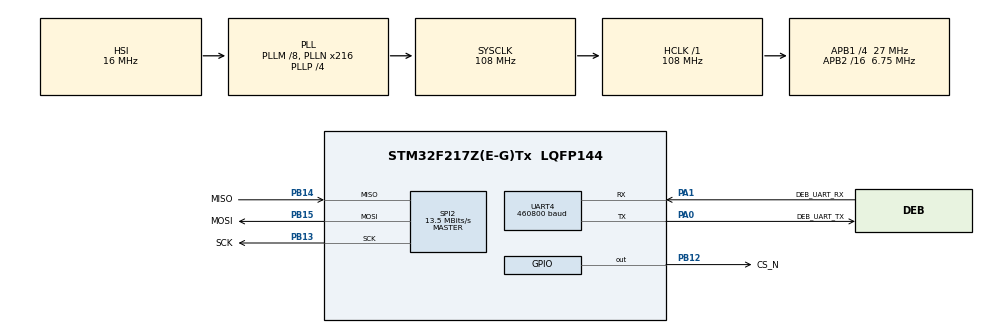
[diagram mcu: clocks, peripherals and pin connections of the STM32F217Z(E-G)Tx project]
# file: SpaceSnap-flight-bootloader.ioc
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IWDG.Prescaler=IWDG_PRESCALER_64
Mcu.Family=STM32F2
Mcu.Name=STM32F217Z(E-G)Tx
Mcu.Package=LQFP144
NVIC.PriorityGroup=NVIC_PRIORITYGROUP_4
PA0-WKUP.GPIO_Label=DEB_UART_TX
PA0-WKUP.Mode=Asynchronous
PA0-WKUP.Signal=UART4_TX
PA1.GPIO_Label=DEB_UART_RX
PA1.Mode=Asynchronous
PA1.Signal=UART4_RX
PA13.GPIO_Label=JTMS/SWDIO
PA13.Mode=Serial_Wire
PA13.Signal=SYS_JTMS-SWDIO
PA14.GPIO_Label=JTCK/SWCLK
PA14.Mode=Serial_Wire
PA14.Signal=SYS_JTCK-SWCLK
PB12.GPIO_Label=CS_N
PB12.PinState=GPIO_PIN_RESET
PB12.Signal=GPIO_Output
PB13.GPIO_Label=SCK
PB13.Mode=Full_Duplex_Master
PB13.Signal=SPI2_SCK
PB14.GPIO_Label=MISO
PB14.Mode=Full_Duplex_Master
PB14.Signal=SPI2_MISO
PB15.GPIO_Label=MOSI
PB15.Mode=Full_Duplex_Master
PB15.Signal=SPI2_MOSI
PC14-OSC32_IN.Mode=LSE-External-Oscillator
PC14-OSC32_IN.Signal=RCC_OSC32_IN
PC15-OSC32_OUT.Mode=LSE-External-Oscillator
PC15-OSC32_OUT.Signal=RCC_OSC32_OUT
PH0-OSC_IN.Mode=HSE-External-Oscillator
PH0-OSC_IN.Signal=RCC_OSC_IN
PH1-OSC_OUT.Mode=HSE-External-Oscillator
PH1-OSC_OUT.Signal=RCC_OSC_OUT
ProjectManager.HeapSize=0x200
ProjectManager.StackSize=0x400
ProjectManager.TargetToolchain=STM32CubeIDE
RCC.48MHZClocksFreq_Value=108000000
RCC.AHBFreq_Value=108000000
RCC.APB1CLKDivider=RCC_HCLK_DIV4
RCC.APB1Freq_Value=27000000
RCC.APB1TimFreq_Value=54000000
RCC.APB2CLKDivider=RCC_HCLK_DIV16
RCC.APB2Freq_Value=6750000
RCC.APB2TimFreq_Value=13500000
RCC.CortexFreq_Value=108000000
RCC.HCLKFreq_Value=108000000
RCC.HSE_VALUE=8000000
RCC.HSI_VALUE=16000000
RCC.PLLM=8
RCC.PLLN=216
RCC.PLLP=RCC_PLLP_DIV4
RCC.SYSCLKFreq_VALUE=108000000
RCC.SYSCLKSource=RCC_SYSCLKSOURCE_PLLCLK
RCC.VCOOutputFreq_Value=432000000
SPI2.BaudRatePrescaler=SPI_BAUDRATEPRESCALER_2
SPI2.CalculateBaudRate=13.5 MBits/s
SPI2.Direction=SPI_DIRECTION_2LINES
SPI2.Mode=SPI_MODE_MASTER
SPI2.VirtualType=VM_MASTER
UART4.BaudRate=460800
UART4.VirtualMode=Asynchronous
VP_IWDG_VS_IWDG.Mode=IWDG_Activate
board=custom

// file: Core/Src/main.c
/* USER CODE BEGIN Header */
/**
  ******************************************************************************
  * @file           : main.c
  * @brief          : Main program body
  * @author			: Lucas Finazzi <lfinazzi@unsam.edu.ar>
  ******************************************************************************
  * @attention
  *
  * Copyright (c) 2026 STMicroelectronics.
  * All rights reserved.
  *
  * This software is licensed under terms that can be found in the LICENSE file
  * in the root directory of this software component.
  * If no LICENSE file comes with this software, it is provided AS-IS.
  *
  ******************************************************************************
  */
/* USER CODE END Header */
#include "main.h"

/* USER CODE BEGIN Includes */
#include <stdio.h>
#include <string.h>

/* USER CODE END Includes */

/* USER CODE BEGIN PTD */

/* ------------------------------------------------------------------------
 * STM32F217ZG: 1 MB flash, 12 sectors (standard F2/F4 layout):
 *   Sector 0:  16 KB  0x08000000 - 0x08003FFF
 *   Sector 1:  16 KB  0x08004000 - 0x08007FFF   <-- APP_ADDRESS starts here
 *   Sector 2:  16 KB  0x08008000 - 0x0800BFFF
 *   Sector 3:  16 KB  0x0800C000 - 0x0800FFFF
 *   Sector 4:  64 KB  0x08010000 - 0x0801FFFF
 *   Sector 5: 128 KB  0x08020000 - 0x0803FFFF
 *   Sector 6: 128 KB  0x08040000 - 0x0805FFFF
 *   Sector 7: 128 KB  0x08060000 - 0x0807FFFF
 *   Sector 8: 128 KB  0x08080000 - 0x0809FFFF
 *   Sector 9: 128 KB  0x080A0000 - 0x080BFFFF
 *   Sector 10:128 KB  0x080C0000 - 0x080DFFFF
 *   Sector 11:128 KB  0x080E0000 - 0x080FFFFF
 *
 * APP_ADDRESS falls exactly on the Sector 1 boundary, so no alignment
 * issues. FIRMWARE_BACKUP_SIZE (256 KB) means the app region can span
 * up to Sectors 1-6 depending on actual app_size.
 * ---------------------------------------------------------------------- */
typedef struct {
    uint32_t   base;
    uint32_t   size;
    uint32_t   hal_id;
} flash_sector_t;

// flash sector architecture
static const flash_sector_t flash_sectors[] = {
    { 0x08000000, 16  * 1024,  FLASH_SECTOR_0  },
    { 0x08004000, 16  * 1024,  FLASH_SECTOR_1  },
    { 0x08008000, 16  * 1024,  FLASH_SECTOR_2  },
    { 0x0800C000, 16  * 1024,  FLASH_SECTOR_3  },
    { 0x08010000, 64  * 1024,  FLASH_SECTOR_4  },
    { 0x08020000, 128 * 1024,  FLASH_SECTOR_5  },
    { 0x08040000, 128 * 1024,  FLASH_SECTOR_6  },
    { 0x08060000, 128 * 1024,  FLASH_SECTOR_7  },
    { 0x08080000, 128 * 1024,  FLASH_SECTOR_8  },
    { 0x080A0000, 128 * 1024,  FLASH_SECTOR_9  },
    { 0x080C0000, 128 * 1024,  FLASH_SECTOR_10 },
    { 0x080E0000, 128 * 1024,  FLASH_SECTOR_11 },
};

/* USER CODE END PTD */

/* USER CODE BEGIN PM */

/* ------------------------------------------------------------------------
 * Debug logging over UART4 - strip for flight builds to save flash space
 * (the whole bootloader must fit in a single 16 KB sector). Comment out
 * the #define below to compile Log() calls down to nothing.
 * ---------------------------------------------------------------------- */
#define BOOTLOADER_DEBUG_LOG   		1

#if BOOTLOADER_DEBUG_LOG
	#define LOG(msg)  				Log(msg)
	#define LOG_UART_TIMEOUT        (100U)
#else
	#define LOG(msg)  ((void)0)
#endif 	/* BOOTLOADER_DEBUG_LOG */

/* ------------------------------------------------------------------------
 * Debug test that the bootloader works without checking CRC,
 * change for flight for release.
 * ---------------------------------------------------------------------- */
#define FLIGHT_BUILD

#ifdef FLIGHT_BUILD
	#define BOOT_RUN()					Bootloader_Run()
#else
	#define BOOT_RUN()					Bootloader_Run_Debug()
#endif	/* FLIGHT_BUILD */

/* ------------------------------------------------------------------------
 * Memory map
 * ---------------------------------------------------------------------- */
#define APP_ADDRESS                    (0x08004000UL)

#define FIRMWARE_BACKUP_SIZE           (0x40000UL)    				/* 256 kB for FW backup image */
#define FIRMWARE_COPY_SIZE             (FIRMWARE_BACKUP_SIZE / 2)   /* 128 KB per copy */
#define END_OF_FRAM                    (0x200000UL)   				/* 2 MB */

// structure: app size (4B), app CRC32 (4B), firmware image (rest of backup size)
#define FIRMWARE_BACKUP_START          ((END_OF_FRAM) - (FIRMWARE_BACKUP_SIZE))

#define FIRMWARE_BACKUP_A_START      	(FIRMWARE_BACKUP_START)
#define FIRMWARE_IMAGE_A_START       	((FIRMWARE_BACKUP_A_START) + (12U))
#define FIRMWARE_IMAGE_A_SIZE        	((FIRMWARE_COPY_SIZE) - (12U))

#define FRAM_ADDR_APP_A_SIZE            (FIRMWARE_BACKUP_A_START)          	 /* uint32_t, 4 bytes */
#define FRAM_ADDR_APP_A_CRC             ((FIRMWARE_BACKUP_A_START) + (4U))   /* uint32_t, 4 bytes */
#define FRAM_ADDR_APP_A_VERSION         ((FIRMWARE_BACKUP_A_START) + (8U))   /* uint32_t, 4 bytes */

#define FIRMWARE_BACKUP_B_START      	(FIRMWARE_BACKUP_A_START + FIRMWARE_COPY_SIZE)
#define FIRMWARE_IMAGE_B_START       	((FIRMWARE_BACKUP_B_START) + (12U))
#define FIRMWARE_IMAGE_B_SIZE        	((FIRMWARE_COPY_SIZE) - (12U))

#define FRAM_ADDR_APP_B_SIZE            (FIRMWARE_BACKUP_B_START)          	 /* uint32_t, 4 bytes */
#define FRAM_ADDR_APP_B_CRC             ((FIRMWARE_BACKUP_B_START) + (4U))   /* uint32_t, 4 bytes */
#define FRAM_ADDR_APP_B_VERSION         ((FIRMWARE_BACKUP_B_START) + (8U))   /* uint32_t, 4 bytes */

// Number of flash sectors in chip
#define NUM_FLASH_SECTORS (sizeof(flash_sectors) / sizeof(flash_sectors[0]))

// Internal MCU SRAM valid region
#define APP_SRAM_BASE   0x20000000UL
#define APP_SRAM_SIZE   0x00020000UL   /* 128 KB */
#define APP_SRAM_END    (APP_SRAM_BASE + APP_SRAM_SIZE)

/* ------------------------------------------------------------------------
 * FRAM read/write
 * ---------------------------------------------------------------------- */
#define FRAM_CMD_READ                  (0x03)
#define FRAM_CMD_WRITE                 (0x02)
#define FRAM_CMD_WREN                  (0x06)

// FRAM chip-select - PB12
#define FRAM_CS_LOW()   HAL_GPIO_WritePin(CS_N_GPIO_Port, CS_N_Pin, GPIO_PIN_RESET)
#define FRAM_CS_HIGH()  HAL_GPIO_WritePin(CS_N_GPIO_Port, CS_N_Pin, GPIO_PIN_SET)

// Size of chunks on fw recovery from FRAM
#define FLASH_PROGRAM_CHUNK_SIZE       (256U)   /* bytes read from FRAM per loop iteration */

// FLASH_PROGRAM_CHUNK_SIZE must be a multiple of 4 for word-aligned flash programming
typedef char FLASH_PROGRAM_CHUNK_SIZE_must_be_multiple_of_4
    [(FLASH_PROGRAM_CHUNK_SIZE % 4 == 0) ? 1 : -1];

/* USER CODE END PM */

IWDG_HandleTypeDef hiwdg;

SPI_HandleTypeDef hspi2;

UART_HandleTypeDef huart4;

void SystemClock_Config(void);
static void MX_GPIO_Init(void);
static void MX_UART4_Init(void);
static void MX_SPI2_Init(void);
static void MX_IWDG_Init(void);

/* USER CODE BEGIN 0 */

#if BOOTLOADER_DEBUG_LOG
	/********************************************************************************
	 * @brief  Transmits a timestamped message over the debug UART (huart4).
	 *
	 * @note   Transmission is blocking with LOG_UART_TIMEOUT ms timeout per call.
	 *         Uses strlen() to determine message length -- the input string must
	 *         be null-terminated. Updates the global timestamp, total_seconds,
	 *         hours, minutes, seconds, and timestamp_string variables as a side
	 *         effect.
	 *
	 * @param  message Null-terminated string to transmit.
	 ********************************************************************************/
	void Log(char *message)
	{
	    HAL_UART_Transmit(&huart4, (uint8_t *) message, strlen(message), LOG_UART_TIMEOUT);
	    return;
	}

	/********************************************************************************
	 * @brief  Logs a labeled 32-bit value in hexadecimal over the debug UART.
	 *
	 * @note   Prints prefix followed immediately by the value formatted as
	 *         "0xXXXXXXXX\r\n". Avoids sprintf and the newlib printf chain
	 *         entirely, saving ~3.3 KB of flash (sprintf, malloc, __udivmoddi4).
	 *         Output is always 10 characters for the hex value plus CRLF.
	 *
	 * @param  prefix   Null-terminated label string printed before the value.
	 * @param  val      32-bit value to print.
	 *
	 * @retval None
	 ********************************************************************************/
	void log_hex(char *prefix, uint32_t val)
	{
	    char buf[16];
	    const char hex[] = "0123456789ABCDEF";
	    buf[0]='0'; buf[1]='x';
	    for (int i = 0; i < 8; i++)
	        buf[2+i] = hex[(val >> (28 - i*4)) & 0xF];
	    buf[10]='\r'; buf[11]='\n'; buf[12]='\0';
	    LOG(prefix);
	    LOG(buf);
	}
#endif 	/* BOOTLOADER_DEBUG_LOG */

/********************************************************************************
 * @brief  Reads a sequence of bytes from the FRAM starting at the specified
 *         address.
 *
 * @note   Transmits the READ opcode followed by the 24-bit address MSB first,
 *         then clocks in len bytes of data. CS is asserted for the full
 *         transaction and deasserted on completion.
 *
 * @param  addr   24-bit memory address to read from.
 * @param  buf    Pointer to the buffer where read data will be stored.
 * @param  len    Number of bytes to read.
 *
 * @retval None
 ********************************************************************************/
void FRAM_Read(uint32_t addr, uint8_t *buf, uint32_t len)
{
	uint8_t cmd[4] = {
		FRAM_CMD_READ,
		(uint8_t)((addr >> 16) & 0xFF),
		(uint8_t)((addr >> 8) & 0xFF),
		(uint8_t)(addr & 0xFF)
	};

	FRAM_CS_LOW();
	HAL_SPI_Transmit(&hspi2, cmd, 4, HAL_MAX_DELAY);
	HAL_SPI_Receive(&hspi2, buf, len, HAL_MAX_DELAY);
	FRAM_CS_HIGH();
}

/********************************************************************************
 * @brief  Computes the CRC32 checksum of a data buffer.
 *
 * @note   Uses the zlib-compatible CRC32 algorithm: polynomial 0xEDB88320
 *         (reflected), initial value 0xFFFFFFFF, and final XOR 0xFFFFFFFF.
 *         Must match whatever algorithm originally computed stored_crc
 *         in FRAM.
 *
 * @param  data   Pointer to the buffer to checksum.
 * @param  len    Number of bytes in the buffer.
 *
 * @retval uint32_t   Computed CRC32 value.
 ********************************************************************************/
uint32_t CRC32_Calculate(const uint8_t *data, uint32_t len)
{
    uint32_t crc = 0xFFFFFFFF;

    for (uint32_t i = 0; i < len; i++) {
        crc ^= data[i];
        for (int j = 0; j < 8; j++) {
            crc = (crc >> 1) ^ (0xEDB88320UL & (-(int32_t)(crc & 1)));
        }
    }

    return ~crc;
}

/********************************************************************************
 * @brief  Erases all flash sectors that overlap a given address range.
 *
 * @note   Iterates the flash_sectors[] table and erases (one sector at a
 *         time) every sector whose range intersects [start_addr, start_addr
 *         + size). Aborts and returns the HAL error code on the first
 *         failed erase; sectors after the failure are left untouched.
 *         Assumes 2.7V-3.6V Vdd (FLASH_VOLTAGE_RANGE_3).
 *
 * @pre Flash must be unlocked via HAL_FLASH_Unlock() before calling.
 *
 * @param  start_addr   First address of the range to erase.
 * @param  size         Size in bytes of the range to erase.
 *
 * @retval HAL_StatusTypeDef   HAL_OK if all overlapping sectors erased
 *                             successfully, otherwise the HAL error from
 *                             the failing HAL_FLASHEx_Erase call.
 ********************************************************************************/
HAL_StatusTypeDef Flash_ErasePages(uint32_t start_addr, uint32_t size)
{
    uint32_t end_addr = start_addr + size;

    for (uint32_t i = 0; i < NUM_FLASH_SECTORS; i++) {
        uint32_t sec_start = flash_sectors[i].base;
        uint32_t sec_end   = sec_start + flash_sectors[i].size;

        /* Does this sector overlap [start_addr, end_addr)? */
        if (sec_start < end_addr && sec_end > start_addr) {
            FLASH_EraseInitTypeDef erase = {0};
            uint32_t sector_error = 0;

            erase.TypeErase   = FLASH_TYPEERASE_SECTORS;

            // RANGE_3 assumes 2.7V-3.6V Vdd
            erase.VoltageRange = FLASH_VOLTAGE_RANGE_3;
            erase.Sector       = flash_sectors[i].hal_id;
            erase.NbSectors    = 1;

            HAL_StatusTypeDef status = HAL_FLASHEx_Erase(&erase, &sector_error);
            if (status != HAL_OK) {
                return status;
            }
        }
        HAL_IWDG_Refresh(&hiwdg);   /* service watchdog between sector erases */
    }

    return HAL_OK;
}

/********************************************************************************
 * @brief  Restores the application image from a specified FRAM backup
 *         copy into internal flash and re-arms it for boot.
 *
 * @note   Validates app_size against the copy's image size, erases the
 *         flash sectors covering [APP_ADDRESS, APP_ADDRESS + app_size),
 *         then streams the image from the given FRAM source in
 *         FLASH_PROGRAM_CHUNK_SIZE chunks, programming each chunk to
 *         flash one word at a time. IWDG refreshed throughout.
 *
 * @param  app_size       Size in bytes of the application image to restore.
 * @param  image_start    FRAM source address for the image data
 *                         (FIRMWARE_IMAGE_A_START or FIRMWARE_IMAGE_B_START).
 *
 * @retval HAL_StatusTypeDef   HAL_OK on success. HAL_ERROR if app_size is
 *                             invalid. Otherwise the HAL error from the
 *                             failing erase or program operation.
 ********************************************************************************/
static HAL_StatusTypeDef RestoreAppFromFRAM(uint32_t app_size, uint32_t image_start)
{
    HAL_StatusTypeDef status;
    uint8_t chunk[FLASH_PROGRAM_CHUNK_SIZE];
    uint32_t fram_offset = image_start;
    uint32_t flash_addr  = APP_ADDRESS;
    uint32_t remaining   = app_size;

    if (app_size == 0 || app_size > FIRMWARE_IMAGE_A_SIZE) {
        LOG("Restore aborted: invalid app_size\r\n");
        return HAL_ERROR;
    }

    log_hex("Restoring app from FRAM offset=", image_start);

    HAL_FLASH_Unlock();

    status = Flash_ErasePages(APP_ADDRESS, app_size);
    if (status != HAL_OK) {
        LOG("Flash erase failed\r\n");
        HAL_FLASH_Lock();
        return status;
    }

    LOG("Erase complete, programming flash...\r\n");

    while (remaining > 0) {
        uint32_t n = (remaining > sizeof(chunk)) ? sizeof(chunk) : remaining;

        FRAM_Read(fram_offset, chunk, n);

        uint32_t n_words = (n + 3) / 4;
        if (n % 4 != 0) {
            memset(&chunk[n], 0xFF, (n_words * 4) - n);
        }

        for (uint32_t i = 0; i < n_words * 4; i += 4) {
            uint32_t word;
            memcpy(&word, &chunk[i], 4);
            status = HAL_FLASH_Program(FLASH_TYPEPROGRAM_WORD, flash_addr + i, word);
            if (status != HAL_OK) {
                log_hex("Flash program failed at ", flash_addr + i);
                HAL_FLASH_Lock();
                return status;
            }
        }

        fram_offset += n;
        flash_addr   += n;
        remaining     -= n;
        HAL_IWDG_Refresh(&hiwdg);
    }

    HAL_FLASH_Lock();
    LOG("Restore complete\r\n");
    return HAL_OK;
}

/********************************************************************************
 * @brief  Relocates the vector table and transfers execution to the
 *         application image in flash.
 *
 * @note   Reads the initial stack pointer and reset handler address from
 *         the application's vector table at APP_ADDRESS, validates both
 *         against basic sanity bounds, disables interrupts, relocates
 *         SCB->VTOR to APP_ADDRESS, sets the main stack pointer, then
 *         branches to the application's reset handler. Does not return
 *         on success. Returns early (without jumping) if the vector
 *         table looks invalid/erased, e.g. no application flashed.
 *
 * @param  None
 *
 * @retval None   Function does not return if the jump succeeds. If it
 *                returns, the jump was aborted due to a failed sanity
 *                check and the caller must decide how to proceed
 *                (e.g. stay in bootloader, signal an error).
 ********************************************************************************/
typedef void (*pFunction)(void);
HAL_StatusTypeDef JumpToApplication(void)
{
    uint32_t appStack = *(__IO uint32_t*)(APP_ADDRESS);
    uint32_t appReset  = *(__IO uint32_t*)(APP_ADDRESS + 4);

    log_hex("JumpToApp: ", appStack);

    /* Sanity check: initial SP must point somewhere inside SRAM.
     * Catches the common case of erased/unprogrammed flash (0xFFFFFFFF). */
    if (appStack < APP_SRAM_BASE || appStack > APP_SRAM_END) {
        LOG("Jump aborted: invalid app stack pointer\r\n");
        return HAL_ERROR;
    }

    /* Sanity check: reset handler address must have the Thumb bit set
     * (odd address) - Cortex-M only executes Thumb code. */
    if ((appReset & 0x1) == 0) {
        LOG("Jump aborted: invalid app reset handler address\r\n");
        return HAL_ERROR;
    }

    /* Reset peripherals the bootloader configured (FRAM SPI, any clocks,
	 * GPIO, etc.) back to their power-on state so the app starts from a
	 * known baseline, same as it would on a real POR. */
	HAL_DeInit();

	/* Disable SysTick before handing off - the app's own SystemInit/
	 * startup code will reconfigure it. Leaving the bootloader's SysTick
	 * running with interrupts re-enabled later could fire into the app
	 * before its vector table is fully in effect. */
	SysTick->CTRL = 0;
	SysTick->VAL  = 0;

	__disable_irq();
	SCB->VTOR = APP_ADDRESS;
	__set_MSP(appStack);
	pFunction jump = (pFunction)appReset;
	jump();

	/* never reached */

	/* Truly unreachable: jump() above never returns on success, and we
	 * already returned HAL_ERROR above for any case that would prevent
	 * the jump. This line exists only to satisfy the compiler's
	 * expectation of a return path. */
	return HAL_ERROR;
}

/********************************************************************************
 * @brief  Top-level boot decision logic: validates the flash image, falls
 *         back through two independent FRAM backup copies if needed, and
 *         either boots a valid image or halts.
 *
 * @note   Reads both backup headers (copy A at FIRMWARE_BACKUP_A_START,
 *         copy B at FIRMWARE_BACKUP_B_START) from FRAM and proceeds
 *         through the following priority chain:
 *
 *         1. Compute CRC32 of the current flash image against copy A's
 *            stored CRC. If it matches, jump immediately (fast path —
 *            no FRAM restore needed on a clean boot).
 *         2. If the flash CRC fails (or the jump itself fails its SP/
 *            Thumb-bit sanity checks), attempt to restore from copy A.
 *            Re-validate the CRC after restore. If both pass, jump.
 *         3. If copy A is unusable (invalid header, failed restore, or
 *            post-restore CRC mismatch), attempt to restore from copy B
 *            using the same validate-restore-validate sequence.
 *         4. If copy B also fails, call Error_Handler() and halt.
 *
 *         Two independent FRAM copy failures are therefore required to
 *         render the payload unbootable. IWDG is refreshed throughout
 *         all long operations (flash erase, flash program). Must be
 *         called after HAL, SPI, and IWDG peripheral initialisation.
 *
 * @param  None
 *
 * @retval None   Does not return if a valid image is successfully jumped
 *                to. Falls through to Error_Handler() otherwise, which
 *                halts in an infinite loop with interrupts disabled.
 ********************************************************************************/
void Bootloader_Run(void)
{
    uint32_t size_a; uint32_t size_b;
    uint32_t crc_a; uint32_t crc_b;

    uint32_t calculated_crc;
    uint8_t  a_valid = 0, b_valid = 0;

    LOG("FLIGHT Bootloader started\r\n");

    FRAM_Read(FRAM_ADDR_APP_A_SIZE, (uint8_t*)&size_a, sizeof(uint32_t));
    FRAM_Read(FRAM_ADDR_APP_A_CRC, (uint8_t*)&crc_a, sizeof(uint32_t));
    FRAM_Read(FRAM_ADDR_APP_B_SIZE, (uint8_t*)&size_b, sizeof(uint32_t));
    FRAM_Read(FRAM_ADDR_APP_B_CRC, (uint8_t*)&crc_b, sizeof(uint32_t));

    log_hex("Copy A: crc=", crc_a);
    log_hex("Copy A: size=", size_a);
    log_hex("Copy B: crc=", crc_b);
    log_hex("Copy B: size=", size_b);

    /* --- Try current flash image first, validated against copy A's CRC --- */
    if (size_a != 0 && size_a <= FIRMWARE_IMAGE_A_SIZE) {
        calculated_crc = CRC32_Calculate((uint8_t*)APP_ADDRESS, size_a);
        if (calculated_crc == crc_a) {
            LOG("Flash image matches copy A - booting\r\n");
            JumpToApplication();
            LOG("Jump failed despite CRC match\r\n");
        }
    }

    /* --- Flash invalid or jump failed - try restoring from copy A --- */
    if (size_a != 0 && size_a <= FIRMWARE_IMAGE_A_SIZE) {
        if (RestoreAppFromFRAM(size_a, FIRMWARE_IMAGE_A_START) == HAL_OK) {
            calculated_crc = CRC32_Calculate((uint8_t*)APP_ADDRESS, size_a);
            if (calculated_crc == crc_a) {
                LOG("Restored from copy A - CRC OK\r\n");
                a_valid = 1;
            } else {
                LOG("Copy A restore CRC mismatch\r\n");
            }
        }
    }
    else {
        LOG("Copy A header invalid\r\n");
    }

    if (a_valid) {
        /* Copy A is good. */
        JumpToApplication();
        LOG("Jump failed after restore from copy A\r\n");
    }

    /* --- Copy A unusable - try copy B --- */
    LOG("Falling back to copy B\r\n");

    if (size_b != 0 && size_b <= FIRMWARE_IMAGE_B_SIZE) {
        if (RestoreAppFromFRAM(size_b, FIRMWARE_IMAGE_B_START) == HAL_OK) {
            calculated_crc = CRC32_Calculate((uint8_t*)APP_ADDRESS, size_b);
            if (calculated_crc == crc_b) {
                LOG("Restored from copy B - CRC OK\r\n");
                b_valid = 1;
            } else {
                LOG("Copy B restore CRC mismatch\r\n");
            }
        }
    } else {
        LOG("Copy B header invalid\r\n");
    }

    if (b_valid) {
        /* Copy B is good, copy A is confirmed bad */
        JumpToApplication();
        LOG("Jump failed after restore from copy B\r\n");
    }

    /* --- Both copies unusable --- */
    LOG("Both firmware backup copies failed - halting\r\n");
    Error_Handler();
}

/********************************************************************************
 * @brief  Debug-only bootloader entry point: reads copy A header from
 *         FRAM for logging, then unconditionally jumps to the application
 *         without any CRC validation or restore logic.
 *
 * @note   Used during application development to verify the jump
 *         mechanism itself works correctly, independently of FRAM state.
 *         Selected by leaving FLIGHT_BUILD undefined — the BOOT_RUN()
 *         macro resolves to this function instead of Bootloader_Run().
 *         Never use in a flight build; it will boot any image in flash
 *         regardless of whether it is valid or matches any backup copy.
 *
 * @param  None
 *
 * @retval None   Does not return on a successful jump. If JumpToApplication()
 *                returns (invalid vector table), execution falls through
 *                into the infinite while(1) loop in main() with no error
 *                recovery.
 ********************************************************************************/
void Bootloader_Run_Debug(void)
{
	uint32_t stored_crc  = 0;
	uint32_t app_size    = 0;
	uint32_t app_version = 0;
    LOG("Debug Bootloader started\r\n");

    FRAM_Read(FRAM_ADDR_APP_A_SIZE, (uint8_t*)&app_size, sizeof(app_size));
	FRAM_Read(FRAM_ADDR_APP_A_CRC, (uint8_t*)&stored_crc, sizeof(stored_crc));
	FRAM_Read(FRAM_ADDR_APP_A_VERSION, (uint8_t*)&app_version, sizeof(app_version));

	log_hex("FRAM: stored_crc= ", stored_crc);
	log_hex("FRAM: stored_size= ", app_size);
	log_hex("FRAM: stored_version= ", app_version);

    // Always jumps to app. Function is used to check jump is implemented ok
    JumpToApplication();
}

/* USER CODE END 0 */

int main(void)
{

  /* MCU Configuration--------------------------------------------------------*/

  /* Reset of all peripherals, Initializes the Flash interface and the Systick. */
  HAL_Init();

  /* Configure the system clock */
  SystemClock_Config();

  /* Initialize all configured peripherals */
  MX_GPIO_Init();
  MX_UART4_Init();
  MX_SPI2_Init();
  MX_IWDG_Init();
  /* USER CODE BEGIN 2 */

  // Main bootloader logic
  BOOT_RUN();

  /* USER CODE END 2 */

  /* Infinite loop */
  while (1)
  {

  }
}

void SystemClock_Config(void)
{
  RCC_OscInitTypeDef RCC_OscInitStruct = {0};
  RCC_ClkInitTypeDef RCC_ClkInitStruct = {0};

  /** Initializes the RCC Oscillators according to the specified parameters
  * in the RCC_OscInitTypeDef structure.
  */
  RCC_OscInitStruct.OscillatorType = RCC_OSCILLATORTYPE_HSI|RCC_OSCILLATORTYPE_LSI;
  RCC_OscInitStruct.HSIState = RCC_HSI_ON;
  RCC_OscInitStruct.HSICalibrationValue = RCC_HSICALIBRATION_DEFAULT;
  RCC_OscInitStruct.LSIState = RCC_LSI_ON;
  RCC_OscInitStruct.PLL.PLLState = RCC_PLL_ON;
  RCC_OscInitStruct.PLL.PLLSource = RCC_PLLSOURCE_HSI;
  RCC_OscInitStruct.PLL.PLLM = 8;
  RCC_OscInitStruct.PLL.PLLN = 216;
  RCC_OscInitStruct.PLL.PLLP = RCC_PLLP_DIV4;
  RCC_OscInitStruct.PLL.PLLQ = 4;
  if (HAL_RCC_OscConfig(&RCC_OscInitStruct) != HAL_OK)
  {
    Error_Handler();
  }

  /** Initializes the CPU, AHB and APB buses clocks
  */
  RCC_ClkInitStruct.ClockType = RCC_CLOCKTYPE_HCLK|RCC_CLOCKTYPE_SYSCLK
                              |RCC_CLOCKTYPE_PCLK1|RCC_CLOCKTYPE_PCLK2;
  RCC_ClkInitStruct.SYSCLKSource = RCC_SYSCLKSOURCE_PLLCLK;
  RCC_ClkInitStruct.AHBCLKDivider = RCC_SYSCLK_DIV1;
  RCC_ClkInitStruct.APB1CLKDivider = RCC_HCLK_DIV4;
  RCC_ClkInitStruct.APB2CLKDivider = RCC_HCLK_DIV16;

  if (HAL_RCC_ClockConfig(&RCC_ClkInitStruct, FLASH_LATENCY_3) != HAL_OK)
  {
    Error_Handler();
  }
}

static void MX_IWDG_Init(void)
{

  hiwdg.Instance = IWDG;
  hiwdg.Init.Prescaler = IWDG_PRESCALER_64;
  hiwdg.Init.Reload = 4095;
  if (HAL_IWDG_Init(&hiwdg) != HAL_OK)
  {
    Error_Handler();
  }

}

static void MX_SPI2_Init(void)
{

  /* SPI2 parameter configuration*/
  hspi2.Instance = SPI2;
  hspi2.Init.Mode = SPI_MODE_MASTER;
  hspi2.Init.Direction = SPI_DIRECTION_2LINES;
  hspi2.Init.DataSize = SPI_DATASIZE_8BIT;
  hspi2.Init.CLKPolarity = SPI_POLARITY_LOW;
  hspi2.Init.CLKPhase = SPI_PHASE_1EDGE;
  hspi2.Init.NSS = SPI_NSS_SOFT;
  hspi2.Init.BaudRatePrescaler = SPI_BAUDRATEPRESCALER_2;
  hspi2.Init.FirstBit = SPI_FIRSTBIT_MSB;
  hspi2.Init.TIMode = SPI_TIMODE_DISABLE;
  hspi2.Init.CRCCalculation = SPI_CRCCALCULATION_DISABLE;
  hspi2.Init.CRCPolynomial = 10;
  if (HAL_SPI_Init(&hspi2) != HAL_OK)
  {
    Error_Handler();
  }

}

static void MX_UART4_Init(void)
{

  huart4.Instance = UART4;
  huart4.Init.BaudRate = 460800;
  huart4.Init.WordLength = UART_WORDLENGTH_8B;
  huart4.Init.StopBits = UART_STOPBITS_1;
  huart4.Init.Parity = UART_PARITY_NONE;
  huart4.Init.Mode = UART_MODE_TX_RX;
  huart4.Init.HwFlowCtl = UART_HWCONTROL_NONE;
  huart4.Init.OverSampling = UART_OVERSAMPLING_16;
  if (HAL_UART_Init(&huart4) != HAL_OK)
  {
    Error_Handler();
  }

}

static void MX_GPIO_Init(void)
{
  GPIO_InitTypeDef GPIO_InitStruct = {0};

  /* GPIO Ports Clock Enable */
  __HAL_RCC_GPIOC_CLK_ENABLE();
  __HAL_RCC_GPIOH_CLK_ENABLE();
  __HAL_RCC_GPIOA_CLK_ENABLE();
  __HAL_RCC_GPIOB_CLK_ENABLE();

  /*Configure GPIO pin Output Level */
  HAL_GPIO_WritePin(CS_N_GPIO_Port, CS_N_Pin, GPIO_PIN_RESET);

  /*Configure GPIO pin : CS_N_Pin */
  GPIO_InitStruct.Pin = CS_N_Pin;
  GPIO_InitStruct.Mode = GPIO_MODE_OUTPUT_PP;
  GPIO_InitStruct.Pull = GPIO_NOPULL;
  GPIO_InitStruct.Speed = GPIO_SPEED_FREQ_LOW;
  HAL_GPIO_Init(CS_N_GPIO_Port, &GPIO_InitStruct);

}

void Error_Handler(void)
{
  /* USER CODE BEGIN Error_Handler_Debug */
  LOG("FATAL: flash corrupt and FRAM restore failed - halting\r\n");
  /* User can add his own implementation to report the HAL error return state */
  __disable_irq();
  while (1)
  {
  }
  /* USER CODE END Error_Handler_Debug */
}
